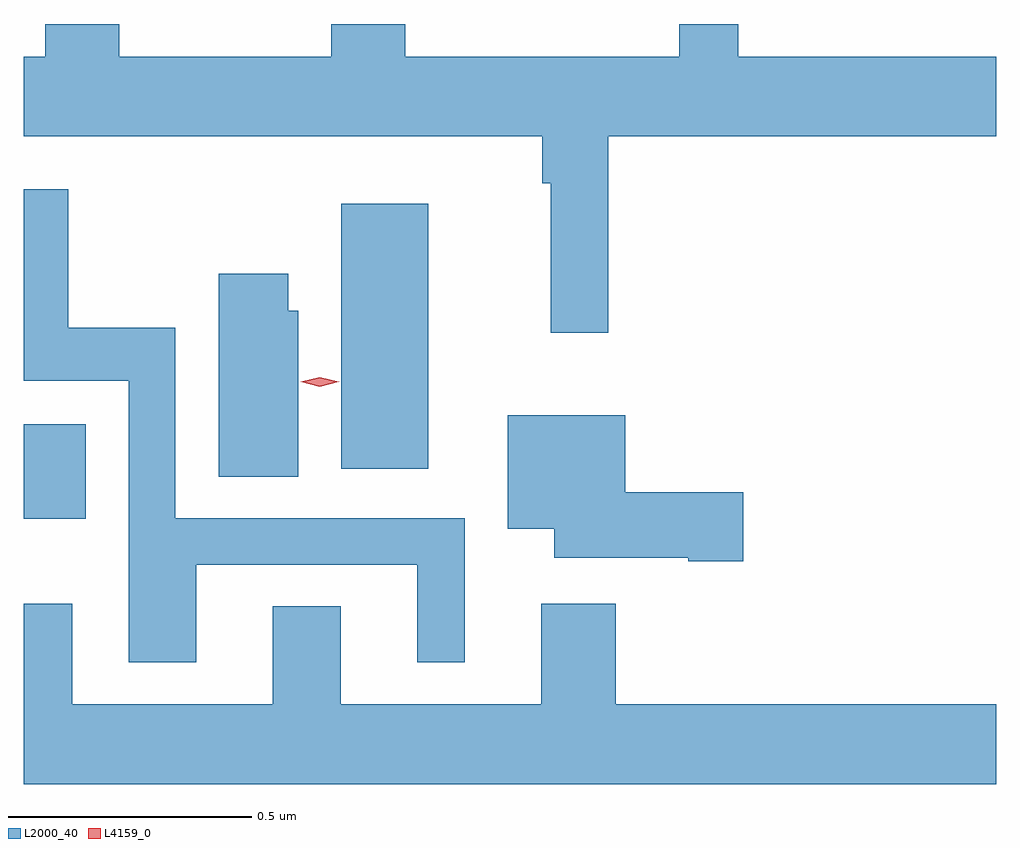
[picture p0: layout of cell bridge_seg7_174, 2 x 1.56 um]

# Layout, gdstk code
import gdstk
lib = gdstk.Library(unit=1e-6, precision=1e-09)
def R(c, l, rs):  # rectangles x0, y0, x1, y1
    for r in rs: c.add(gdstk.rectangle(r[:2], r[2:], *l))
def P(c, l, *ps):  # polygons
    for p in ps: c.add(gdstk.Polygon(p, *l))
L2000_40 = (2000, 40)
L4159_0 = (4159, 0)

bridge_seg7_174 = lib.new_cell('bridge_seg7_174')
R(bridge_seg7_174, L2000_40, [(455.961,1030.466,456.088,1030.66), (456.614,1030.568,456.793,1031.113)])
P(bridge_seg7_174, L2000_40, [(457.163,1031.252),(457.961,1031.252),(457.961,1031.416),(457.43,1031.416),(457.43,1031.483),(457.309,1031.483),(457.309,1031.416),(456.746,1031.416),(456.746,1031.483),(456.593,1031.483),(456.593,1031.416),(456.157,1031.416),(456.157,1031.483),(456.005,1031.483),(456.005,1031.416),(455.961,1031.416),(455.961,1031.252),(457.027,1031.252),(457.027,1031.156),(457.045,1031.156),(457.045,1030.848),(457.163,1030.848)],
  [(456.316,1030.371),(456.77,1030.371),(456.77,1030.17),(456.868,1030.17),(456.868,1030.467),(456.273,1030.467),(456.273,1030.858),(456.052,1030.858),(456.052,1031.143),(455.961,1031.143),(455.961,1030.749),(456.177,1030.749),(456.177,1030.17),(456.316,1030.17)],
  [(456.526,1030.893),(456.505,1030.893),(456.505,1030.969),(456.362,1030.969),(456.362,1030.552),(456.526,1030.552)],
  [(457.441,1030.52),(457.198,1030.52),(457.198,1030.678),(456.956,1030.678),(456.956,1030.445),(457.052,1030.445),(457.052,1030.385),(457.328,1030.385),(457.328,1030.378),(457.441,1030.378)],
  [(457.961,1030.084),(457.178,1030.084),(457.178,1030.291),(457.025,1030.291),(457.025,1030.084),(456.613,1030.084),(456.613,1030.286),(456.473,1030.286),(456.473,1030.084),(456.061,1030.084),(456.061,1030.291),(455.961,1030.291),(455.961,1029.92),(457.961,1029.92)])
P(bridge_seg7_174, L4159_0, [(456.57,1030.737),(456.531,1030.747),(456.53,1030.747),(456.531,1030.747),(456.57,1030.757),(456.609,1030.747),(456.61,1030.747),(456.609,1030.747)])

lib.write_gds('bridge_seg7_174.gds')
